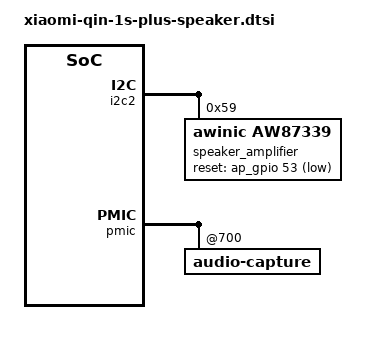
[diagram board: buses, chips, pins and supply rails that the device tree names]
// SPDX-License-Identifier: GPL-2.0-only
#include <dt-bindings/gpio/gpio.h>

&ap_gpio {
	/delete-node/ speaker-amplifier-disable;
};

&i2c2 {
	status = "okay";

	speaker_amplifier: amplifier@59 {
		compatible = "awinic,aw87339";
		reg = <0x59>;
		reset-gpios = <&ap_gpio 53 GPIO_ACTIVE_LOW>;
	};
};

&pmic {
	audio-capture@700 {
		fplinux,speaker-amplifier = <&speaker_amplifier>;
	};
};
